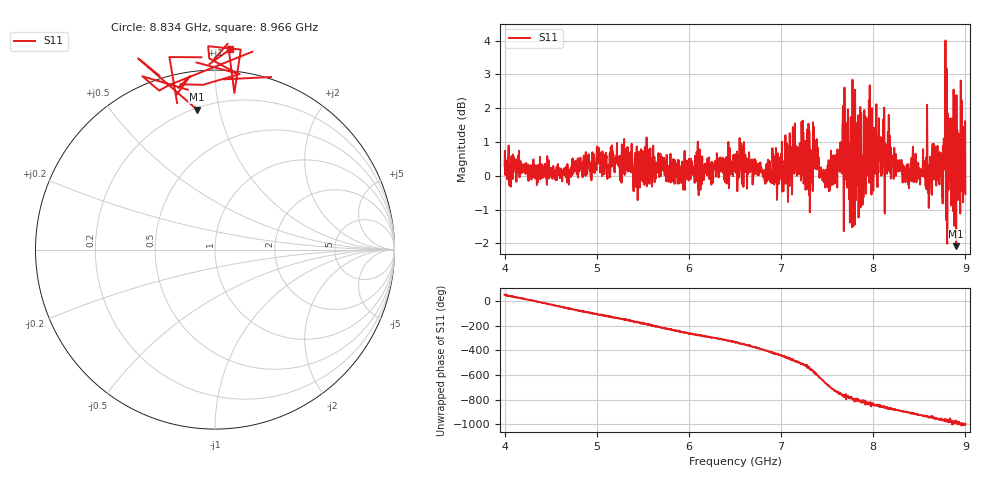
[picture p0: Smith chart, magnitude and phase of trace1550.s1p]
! Created with skrf 1.8.0 (http://scikit-rf.org).
# Hz S RI R 50.0
!freq ReS11 ImS11
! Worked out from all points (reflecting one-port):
!   1601 points, 4 GHz to 9 GHz, reference 50 ohm
!   lowest |S11| = -2.1 dB at 8.9 GHz (marker M1), VSWR 8.38, Z = 10.5 + j42.9 ohm
!   phase of S11 starts at 53 deg and turns -1051 deg over the sweep
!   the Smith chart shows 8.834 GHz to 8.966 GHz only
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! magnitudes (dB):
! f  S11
! 4 GHz  0.3
! 4.625 GHz  -0.2
! 5.25 GHz  0.1
! 5.875 GHz  0.4
! 6.5 GHz  0.2
! 6.825 GHz  0.1
! 7.097 GHz  -0.1
! 7.125 GHz  0.6
! 7.284 GHz  1.4
! 7.328 GHz  0.7
! 7.372 GHz  1.0
! 7.434 GHz  0.2
! 7.506 GHz  0.3
! 7.647 GHz  0.3
! 7.75 GHz  -0.2
! 7.788 GHz  0.5
! 7.822 GHz  -0.3
! 7.875 GHz  -0.2
! 7.95 GHz  0.3
! 8.375 GHz  0.2
! 8.562 GHz  -0.1
! 8.612 GHz  0.1
! 8.666 GHz  0.7
! 8.728 GHz  0.2
! 8.775 GHz  0.5
! 8.9 GHz  -2.1
! 8.972 GHz  0.7
! 9 GHz  -0.5
